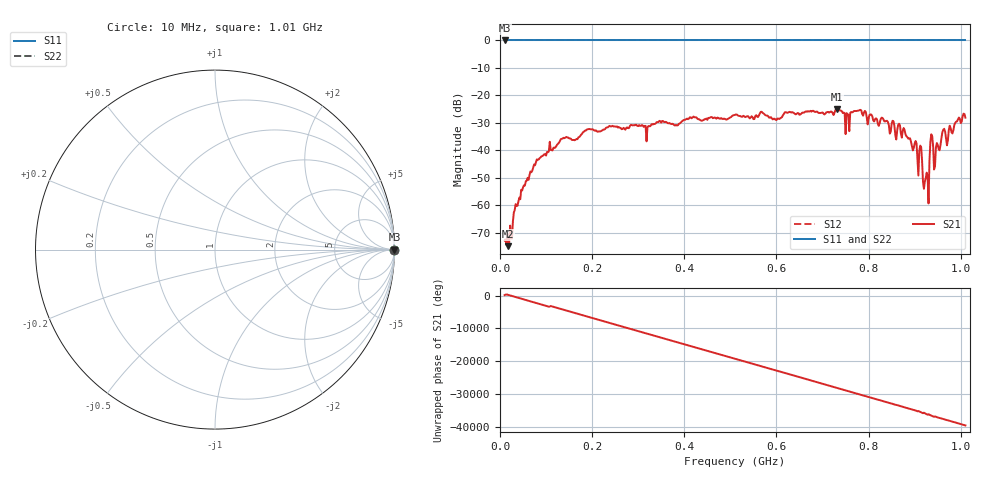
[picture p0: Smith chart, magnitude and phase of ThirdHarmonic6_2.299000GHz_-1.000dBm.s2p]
! 8/17/2025 3:06:39 AM
! C:\ANRITSUVNA\TEMP\TEMP.S2P
! CHANNEL.1
! TR.MEASUREMENT
! RAW.DATA
! RF.CORRECTION.OFF
! AVERAGING.OFF
! IF.BANDWIDTH: 5KHZ
! SWEEPTYPE:  FREQ.SWEEP(Linear)
! Reference Plane Port Info
! PORT:  PORT1  PORT2
! DISTANCE:  0  m  0  m
! TIME:  0  s  0  s
! PHASE.OFFSET:  0  deg.  0  deg.
! LOSS:  0  dB  0  dB
! REF.LOSS:  0  dB  0  dB
! REF.FREQ:  0  Hz  0  Hz
! Power Info
! POWER:  -20  dBm  -20  dBm
! EFF.POWER:  -20  dBm  -20  dBm
! SOURCE.ATTEN:  0  dB  0  dB
! TEST.ATTEN:  0  dB  0  dB
# GHZ S RI R 50.0
! FREQ.GHZ  S11RE  S11IM  S21RE  S21IM  S12RE  S12IM  S22RE  S22IM
!; PortSelection: Port_12
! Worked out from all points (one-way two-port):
!   501 points, 10 MHz to 1.01 GHz, reference 50 ohm
!   highest |S21| = -24.95 dB at 732 MHz (marker M1); lowest = -74.8 dB at 18 MHz (marker M2)
!   lowest |S11| = 0.0 dB at 10 MHz (marker M3)
!   |S11| at or under -10 dB: nowhere
!   |S22| runs from 0.0 to 0.0 dB; largest |S21 - S12| = 1.1
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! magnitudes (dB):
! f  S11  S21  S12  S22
! 10 MHz  0.0  -72.8  0.0  0.0
! 18 MHz  0.0  -74.8  0.0  0.0
! 22 MHz  0.0  -67.3  0.0  0.0
! 34 MHz  0.0  -59.5  0.0  0.0
! 78 MHz  0.0  -44.4  0.0  0.0
! 178 MHz  0.0  -33.9  0.0  0.0
! 344 MHz  0.0  -29.7  0.0  0.0
! 510 MHz  0.0  -27.1  0.0  0.0
! 678 MHz  0.0  -25.6  0.0  0.0
! 732 MHz  0.0  -24.9  0.0  0.0
! 754 MHz  0.0  -26.7  0.0  0.0
! 780 MHz  0.0  -25.4  0.0  0.0
! 844 MHz  0.0  -30.9  0.0  0.0
! 900 MHz  0.0  -37.4  0.0  0.0
! 914 MHz  0.0  -38.8  0.0  0.0
! 920 MHz  0.0  -54.0  0.0  0.0
! 926 MHz  0.0  -48.1  0.0  0.0
! 936 MHz  0.0  -34.1  0.0  0.0
! 946 MHz  0.0  -39.0  0.0  0.0
! 962 MHz  0.0  -32.4  0.0  0.0
! 970 MHz  0.0  -38.2  0.0  0.0
! 1.01 GHz  0.0  -28.1  0.0  0.0
